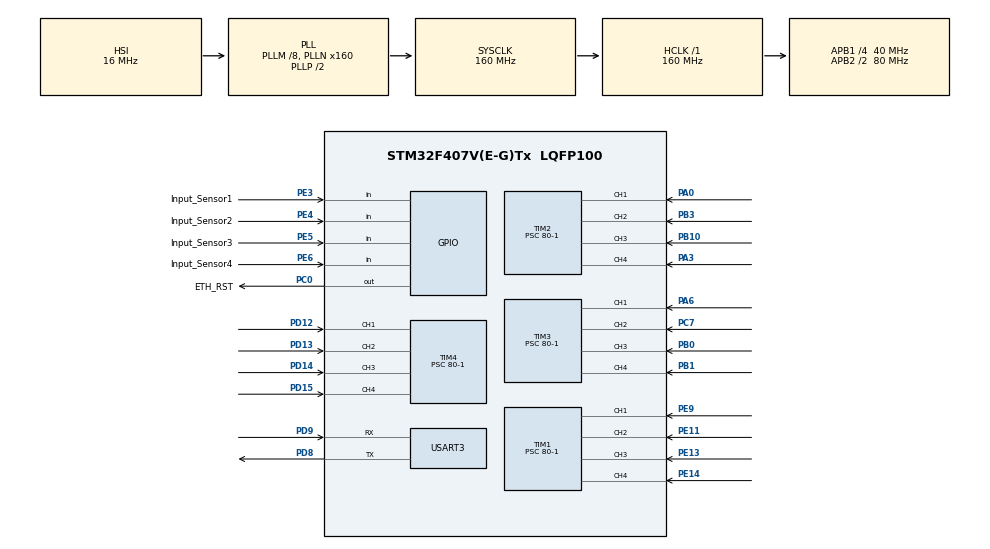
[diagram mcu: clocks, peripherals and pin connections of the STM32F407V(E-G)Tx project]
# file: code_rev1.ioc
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Dma.Request0=USART3_RX
Dma.USART3_RX.0.Direction=DMA_PERIPH_TO_MEMORY
Dma.USART3_RX.0.FIFOMode=DMA_FIFOMODE_DISABLE
Dma.USART3_RX.0.Instance=DMA1_Stream1
Dma.USART3_RX.0.MemDataAlignment=DMA_MDATAALIGN_BYTE
Dma.USART3_RX.0.MemInc=DMA_MINC_ENABLE
Dma.USART3_RX.0.Mode=DMA_CIRCULAR
Dma.USART3_RX.0.PeriphDataAlignment=DMA_PDATAALIGN_BYTE
Dma.USART3_RX.0.PeriphInc=DMA_PINC_DISABLE
Dma.USART3_RX.0.Priority=DMA_PRIORITY_LOW
FREERTOS.INCLUDE_vTaskCleanUpResources=1
FREERTOS.Tasks01=modbusTaskTcp,32,256,modebusTaskTcpFunc,Default,NULL,Dynamic,NULL,NULL;Freq_Cal,24,128,Freq_Cal_entry,Default,NULL,Dynamic,NULL,NULL
FREERTOS.configENABLE_FPU=1
FREERTOS.configGENERATE_RUN_TIME_STATS=1
FREERTOS.configTOTAL_HEAP_SIZE=64000
Mcu.Family=STM32F4
Mcu.Name=STM32F407V(E-G)Tx
Mcu.Package=LQFP100
NVIC.DMA1_Stream1_IRQn=true\:0\:0\:false\:false\:true\:true\:false\:true\:true
NVIC.PriorityGroup=NVIC_PRIORITYGROUP_4
NVIC.TIM1_CC_IRQn=true\:0\:0\:false\:false\:true\:false\:true\:true\:true
NVIC.TIM2_IRQn=true\:0\:0\:false\:false\:true\:false\:true\:true\:true
NVIC.TIM3_IRQn=true\:0\:0\:false\:false\:true\:false\:true\:true\:true
NVIC.TIM4_IRQn=true\:0\:0\:false\:false\:true\:false\:true\:true\:true
NVIC.TIM5_IRQn=true\:0\:0\:false\:false\:true\:false\:false\:true\:true
NVIC.TimeBase=TIM5_IRQn
NVIC.TimeBaseIP=TIM5
NVIC.USART3_IRQn=true\:0\:0\:true\:false\:true\:false\:true\:true\:true
PA0-WKUP.Signal=S_TIM2_CH1_ETR
PA13.Mode=Serial_Wire
PA13.Signal=SYS_JTMS-SWDIO
PA14.Mode=Serial_Wire
PA14.Signal=SYS_JTCK-SWCLK
PA3.Signal=S_TIM2_CH4
PA6.Signal=S_TIM3_CH1
PB0.Signal=S_TIM3_CH3
PB1.Signal=S_TIM3_CH4
PB10.Signal=S_TIM2_CH3
PB3.Signal=S_TIM2_CH2
PC0.GPIO_Label=ETH_RST
PC0.PinState=GPIO_PIN_SET
PC0.Signal=GPIO_Output
PC7.Signal=S_TIM3_CH2
PD12.Signal=S_TIM4_CH1
PD13.Signal=S_TIM4_CH2
PD14.Signal=S_TIM4_CH3
PD15.Signal=S_TIM4_CH4
PD8.Mode=Asynchronous
PD8.Signal=USART3_TX
PD9.Mode=Asynchronous
PD9.Signal=USART3_RX
PE11.Signal=S_TIM1_CH2
PE13.Signal=S_TIM1_CH3
PE14.Signal=S_TIM1_CH4
PE3.GPIO_Label=Input_Sensor1
PE3.GPIO_PuPd=GPIO_NOPULL
PE3.Signal=GPIO_Input
PE4.GPIO_Label=Input_Sensor2
PE4.GPIO_PuPd=GPIO_NOPULL
PE4.Signal=GPIO_Input
PE5.GPIO_Label=Input_Sensor3
PE5.GPIO_PuPd=GPIO_NOPULL
PE5.Signal=GPIO_Input
PE6.GPIO_Label=Input_Sensor4
PE6.GPIO_PuPd=GPIO_NOPULL
PE6.Signal=GPIO_Input
PE9.Signal=S_TIM1_CH1
PH0-OSC_IN.Mode=HSE-External-Oscillator
PH0-OSC_IN.Signal=RCC_OSC_IN
PH1-OSC_OUT.Mode=HSE-External-Oscillator
PH1-OSC_OUT.Signal=RCC_OSC_OUT
ProjectManager.HeapSize=0x2000
ProjectManager.StackSize=0x4000
ProjectManager.TargetToolchain=EWARM V8.32
RCC.48MHZClocksFreq_Value=45714285.71428572
RCC.AHBFreq_Value=160000000
RCC.APB1CLKDivider=RCC_HCLK_DIV4
RCC.APB1Freq_Value=40000000
RCC.APB1TimFreq_Value=80000000
RCC.APB2CLKDivider=RCC_HCLK_DIV2
RCC.APB2Freq_Value=80000000
RCC.APB2TimFreq_Value=160000000
RCC.CortexFreq_Value=160000000
RCC.HCLKFreq_Value=160000000
RCC.HSE_VALUE=8000000
RCC.HSI_VALUE=16000000
RCC.LSE_VALUE=32768
RCC.PLLM=8
RCC.PLLN=160
RCC.PLLQ=7
RCC.SYSCLKFreq_VALUE=160000000
RCC.SYSCLKSource=RCC_SYSCLKSOURCE_PLLCLK
RCC.VCOOutputFreq_Value=320000000
SH.S_TIM1_CH1.0=TIM1_CH1,Input_Capture1_from_TI1
SH.S_TIM1_CH2.0=TIM1_CH2,Input_Capture2_from_TI2
SH.S_TIM1_CH3.0=TIM1_CH3,Input_Capture3_from_TI3
SH.S_TIM1_CH4.0=TIM1_CH4,Input_Capture4_from_TI4
SH.S_TIM2_CH1_ETR.0=TIM2_CH1,Input_Capture1_from_TI1
SH.S_TIM2_CH2.0=TIM2_CH2,Input_Capture2_from_TI2
SH.S_TIM2_CH3.0=TIM2_CH3,Input_Capture3_from_TI3
SH.S_TIM2_CH4.0=TIM2_CH4,Input_Capture4_from_TI4
SH.S_TIM3_CH1.0=TIM3_CH1,Input_Capture1_from_TI1
SH.S_TIM3_CH2.0=TIM3_CH2,Input_Capture2_from_TI2
SH.S_TIM3_CH3.0=TIM3_CH3,Input_Capture3_from_TI3
SH.S_TIM3_CH4.0=TIM3_CH4,Input_Capture4_from_TI4
SH.S_TIM4_CH1.0=TIM4_CH1,Input_Capture1_from_TI1
SH.S_TIM4_CH2.0=TIM4_CH2,Input_Capture2_from_TI2
SH.S_TIM4_CH3.0=TIM4_CH3,Input_Capture3_from_TI3
SH.S_TIM4_CH4.0=TIM4_CH4,Input_Capture4_from_TI4
TIM1.Channel-Input_Capture1_from_TI1=TIM_CHANNEL_1
TIM1.Channel-Input_Capture2_from_TI2=TIM_CHANNEL_2
TIM1.Channel-Input_Capture3_from_TI3=TIM_CHANNEL_3
TIM1.Channel-Input_Capture4_from_TI4=TIM_CHANNEL_4
TIM1.Prescaler=80-1
TIM2.Channel-Input_Capture1_from_TI1=TIM_CHANNEL_1
TIM2.Channel-Input_Capture2_from_TI2=TIM_CHANNEL_2
TIM2.Channel-Input_Capture3_from_TI3=TIM_CHANNEL_3
TIM2.Channel-Input_Capture4_from_TI4=TIM_CHANNEL_4
TIM2.Prescaler=80-1
TIM3.Channel-Input_Capture1_from_TI1=TIM_CHANNEL_1
TIM3.Channel-Input_Capture2_from_TI2=TIM_CHANNEL_2
TIM3.Channel-Input_Capture3_from_TI3=TIM_CHANNEL_3
TIM3.Channel-Input_Capture4_from_TI4=TIM_CHANNEL_4
TIM3.Prescaler=80-1
TIM4.AutoReloadPreload=TIM_AUTORELOAD_PRELOAD_ENABLE
TIM4.Channel-Input_Capture1_from_TI1=TIM_CHANNEL_1
TIM4.Channel-Input_Capture2_from_TI2=TIM_CHANNEL_2
TIM4.Channel-Input_Capture3_from_TI3=TIM_CHANNEL_3
TIM4.Channel-Input_Capture4_from_TI4=TIM_CHANNEL_4
TIM4.Prescaler=80-1
USART3.VirtualMode=VM_ASYNC
VP_FREERTOS_VS_CMSIS_V2.Mode=CMSIS_V2
VP_SYS_VS_tim5.Mode=TIM5
VP_TIM1_VS_ClockSourceINT.Mode=Internal
VP_TIM2_VS_ClockSourceINT.Mode=Internal
VP_TIM3_VS_ClockSourceINT.Mode=Internal
VP_TIM4_VS_ClockSourceINT.Mode=Internal
board=custom

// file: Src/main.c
/* USER CODE BEGIN Header */
/**
******************************************************************************
* @file           : main.c
* @brief          : Main program body
******************************************************************************
* @attention
*
* <h2><center>&copy; Copyright (c) 2023 STMicroelectronics.
* All rights reserved.</center></h2>
*
* This software component is licensed by ST under Ultimate Liberty license
* SLA0044, the "License"; You may not use this file except in compliance with
* the License. You may obtain a copy of the License at:
*                             www.st.com/SLA0044
*
******************************************************************************
*/
/* USER CODE END Header */
#include "main.h"
#include "cmsis_os.h"

/* USER CODE BEGIN Includes */
#include "string.h"
#include "stdio.h"
#include "stdlib.h"
#include <stdbool.h>
#include <stdint.h>
#include <float.h>
#include <math.h>
#include <float.h>
#include <math.h>
#include <stdio.h>
#include <stdlib.h>
#include <string.h>

#include "printf.h"
/* USER CODE END Includes */

/* USER CODE BEGIN PM */
#define TIMCLOCK_1   80000000
#define TIMCLOCK_2   160000000
#define PRESCALAR_1  80
#define PRESCALAR_2  80

#define ARRAY_LEN(x)  (sizeof(x)/sizeof((x)[0]))
uint8_t usart_rx[2400];
size_t pos;
#define NUMBERS_COUNT 17
#define NUMBER_LENGTH 4
#define BUFFER_LENGTH 84
uint8_t Rx_data[84];
int sl_inputs[NUMBERS_COUNT];

uint16_t selected_data[25][16];

uint8_t stat = 0;

uint16_t IC_Val1[17];
uint16_t IC_Val2[17];
uint16_t Difference[17];
int Is_First_Captured[17];
uint16_t frequency[17];
uint16_t frequency_f[17];

char update_status[] = "mode0";
uint16_t capture_freq[100][16];
uint8_t readCount = 0;
uint8_t counter = 0;
uint8_t faultCounter = 0;

uint16_t out_data[400];
char outstr[2400];
/* USER CODE END PM */

TIM_HandleTypeDef htim1;
TIM_HandleTypeDef htim2;
TIM_HandleTypeDef htim3;
TIM_HandleTypeDef htim4;

/* Definitions for modbusTaskTcp */
osThreadId_t modbusTaskTcpHandle;
const osThreadAttr_t modbusTaskTcp_attributes = {
  .name = "modbusTaskTcp",
  .priority = (osPriority_t) osPriorityAboveNormal,
  .stack_size = 256 * 4
};
/* Definitions for Freq_Cal */
osThreadId_t Freq_CalHandle;
const osThreadAttr_t Freq_Cal_attributes = {
  .name = "Freq_Cal",
  .priority = (osPriority_t) osPriorityNormal,
  .stack_size = 128 * 4
};

void SystemClock_Config(void);
static void MX_GPIO_Init(void);
static void MX_DMA_Init(void);
static void MX_TIM1_Init(void);
static void MX_TIM2_Init(void);
static void MX_USART3_UART_Init(void);
static void MX_TIM3_Init(void);
static void MX_TIM4_Init(void);
void modebusTaskTcpFunc(void *argument);
void Freq_Cal_entry(void *argument);

/* USER CODE BEGIN PFP */
void usart_transmit_data(const void* data, uint16_t len) {
  const uint8_t* b = data;
  while (len--) {
    LL_USART_TransmitData8(USART3, *b++);
    while (!LL_USART_IsActiveFlag_TXE(USART3));
  }
}

void usart_rx_check(void) {
  static size_t old_pos;

  /* Calculate current position in buffer */
  pos = ARRAY_LEN(usart_rx) - LL_DMA_GetDataLength(DMA1, LL_DMA_STREAM_5);
  old_pos = pos;                              /* Save current position as old */
  /* Check and manually update if we reached end of buffer */
  if (old_pos == ARRAY_LEN(usart_rx)) {
    old_pos = 0;
  }
}

/**
* \brief           Process received data over UART
* \note            Either process them directly or copy to other bigger buffer
* \param[in]       data: Data to process
* \param[in]       len: Length in units of bytes
*/
void usart_process_data(const void* data, size_t len) {
  const uint8_t* d = data;
  while (len--) {
    LL_USART_TransmitData8(USART3, *d++);
    while (!LL_USART_IsActiveFlag_TXE(USART3));
  }
  while (!LL_USART_IsActiveFlag_TC(USART3));
}

/**
* @brief USART3 Initialization Function
* @param None
* @retval None
*/
static void MX_USART3_UART_Init(void)
{

  /* USER CODE BEGIN USART3_Init 0 */

  /* USER CODE END USART3_Init 0 */

  LL_USART_InitTypeDef USART_InitStruct = {0};

  LL_GPIO_InitTypeDef GPIO_InitStruct = {0};

  /* Peripheral clock enable */
  LL_APB1_GRP1_EnableClock(LL_APB1_GRP1_PERIPH_USART3);

  LL_AHB1_GRP1_EnableClock(LL_AHB1_GRP1_PERIPH_GPIOD);
  /**USART3 GPIO Configuration
  PD8   ------> USART3_TX
  PD9   ------> USART3_RX
  */
  GPIO_InitStruct.Pin = LL_GPIO_PIN_8|LL_GPIO_PIN_9;
  GPIO_InitStruct.Mode = LL_GPIO_MODE_ALTERNATE;
  GPIO_InitStruct.Speed = LL_GPIO_SPEED_FREQ_VERY_HIGH;
  GPIO_InitStruct.OutputType = LL_GPIO_OUTPUT_PUSHPULL;
  GPIO_InitStruct.Pull = LL_GPIO_PULL_UP;
  GPIO_InitStruct.Alternate = LL_GPIO_AF_7;
  LL_GPIO_Init(GPIOD, &GPIO_InitStruct);

  /* USART3 DMA Init */

  /* USART3_RX Init */
  /*
  LL_DMA_SetChannelSelection(DMA1, LL_DMA_STREAM_1, LL_DMA_CHANNEL_4);

  LL_DMA_SetDataTransferDirection(DMA1, LL_DMA_STREAM_1, LL_DMA_DIRECTION_PERIPH_TO_MEMORY);

  LL_DMA_SetStreamPriorityLevel(DMA1, LL_DMA_STREAM_1, LL_DMA_PRIORITY_LOW);

  LL_DMA_SetMode(DMA1, LL_DMA_STREAM_1, LL_DMA_MODE_CIRCULAR);

  LL_DMA_SetPeriphIncMode(DMA1, LL_DMA_STREAM_1, LL_DMA_PERIPH_NOINCREMENT);

  LL_DMA_SetMemoryIncMode(DMA1, LL_DMA_STREAM_1, LL_DMA_MEMORY_INCREMENT);

  LL_DMA_SetPeriphSize(DMA1, LL_DMA_STREAM_1, LL_DMA_PDATAALIGN_BYTE);

  LL_DMA_SetMemorySize(DMA1, LL_DMA_STREAM_1, LL_DMA_MDATAALIGN_BYTE);

  LL_DMA_DisableFifoMode(DMA1, LL_DMA_STREAM_1);
  */
  LL_DMA_SetChannelSelection(DMA1, LL_DMA_STREAM_1, LL_DMA_CHANNEL_4);
  LL_DMA_SetDataTransferDirection(DMA1, LL_DMA_STREAM_1, LL_DMA_DIRECTION_PERIPH_TO_MEMORY);
  LL_DMA_SetStreamPriorityLevel(DMA1, LL_DMA_STREAM_1, LL_DMA_PRIORITY_LOW);
  LL_DMA_SetMode(DMA1, LL_DMA_STREAM_1, LL_DMA_MODE_CIRCULAR);
  LL_DMA_SetPeriphIncMode(DMA1, LL_DMA_STREAM_1, LL_DMA_PERIPH_NOINCREMENT);
  LL_DMA_SetMemoryIncMode(DMA1, LL_DMA_STREAM_1, LL_DMA_MEMORY_INCREMENT);
  LL_DMA_SetPeriphSize(DMA1, LL_DMA_STREAM_1, LL_DMA_PDATAALIGN_BYTE);
  LL_DMA_SetMemorySize(DMA1, LL_DMA_STREAM_1, LL_DMA_MDATAALIGN_BYTE);
  LL_DMA_DisableFifoMode(DMA1, LL_DMA_STREAM_1);

  LL_DMA_SetPeriphAddress(DMA1, LL_DMA_STREAM_1, (uint32_t)&USART3->DR);
  LL_DMA_SetMemoryAddress(DMA1, LL_DMA_STREAM_1, (uint32_t)usart_rx);
  LL_DMA_SetDataLength(DMA1, LL_DMA_STREAM_1, ARRAY_LEN(usart_rx));

  /* USART3 interrupt Init */
  NVIC_SetPriority(USART3_IRQn, NVIC_EncodePriority(NVIC_GetPriorityGrouping(),5, 0));
  NVIC_EnableIRQ(USART3_IRQn);

  /* USER CODE BEGIN USART3_Init 1 */

  /* USER CODE END USART3_Init 1 */
  USART_InitStruct.BaudRate = 115200;
  USART_InitStruct.DataWidth = LL_USART_DATAWIDTH_8B;
  USART_InitStruct.StopBits = LL_USART_STOPBITS_1;
  USART_InitStruct.Parity = LL_USART_PARITY_NONE;
  USART_InitStruct.TransferDirection = LL_USART_DIRECTION_TX_RX;
  USART_InitStruct.HardwareFlowControl = LL_USART_HWCONTROL_NONE;
  USART_InitStruct.OverSampling = LL_USART_OVERSAMPLING_16;
  LL_USART_Init(USART3, &USART_InitStruct);
  LL_USART_ConfigAsyncMode(USART3);
  LL_USART_EnableDMAReq_RX(USART3);
  LL_USART_EnableIT_IDLE(USART3);
  LL_DMA_EnableStream(DMA1, LL_DMA_STREAM_1);
  LL_USART_Enable(USART3);
  /* USER CODE BEGIN USART3_Init 2 */

  /* USER CODE END USART3_Init 2 */

}

/**
* \brief           Send string to USART
* \param[in]       str: String to send
*/
void usart_send_string(const char* str) {
  usart_process_data(str, strlen(str));
}
/* USER CODE END PFP */

int main(void)
{

  /* MCU Configuration--------------------------------------------------------*/

  /* Reset of all peripherals, Initializes the Flash interface and the Systick. */
  HAL_Init();

  /* Configure the system clock */
  SystemClock_Config();

  /* Initialize all configured peripherals */
  MX_GPIO_Init();
  MX_DMA_Init();
  MX_TIM1_Init();
  MX_TIM2_Init();
  MX_USART3_UART_Init();
  MX_TIM3_Init();
  MX_TIM4_Init();
  /* USER CODE BEGIN 2 */
  HAL_TIM_IC_Start_IT(&htim1, TIM_CHANNEL_1);
  HAL_TIM_IC_Start_IT(&htim1, TIM_CHANNEL_2);
  HAL_TIM_IC_Start_IT(&htim1, TIM_CHANNEL_3);
  HAL_TIM_IC_Start_IT(&htim1, TIM_CHANNEL_4);

  HAL_TIM_IC_Start_IT(&htim2, TIM_CHANNEL_1);
  HAL_TIM_IC_Start_IT(&htim2, TIM_CHANNEL_2);
  HAL_TIM_IC_Start_IT(&htim2, TIM_CHANNEL_3);
  HAL_TIM_IC_Start_IT(&htim2, TIM_CHANNEL_4);

  HAL_TIM_IC_Start_IT(&htim3, TIM_CHANNEL_1);
  HAL_TIM_IC_Start_IT(&htim3, TIM_CHANNEL_2);
  HAL_TIM_IC_Start_IT(&htim3, TIM_CHANNEL_3);
  HAL_TIM_IC_Start_IT(&htim3, TIM_CHANNEL_4);

  HAL_TIM_IC_Start_IT(&htim4, TIM_CHANNEL_1);
  HAL_TIM_IC_Start_IT(&htim4, TIM_CHANNEL_2);
  HAL_TIM_IC_Start_IT(&htim4, TIM_CHANNEL_3);
  HAL_TIM_IC_Start_IT(&htim4, TIM_CHANNEL_4);

  //HAL_UART_Receive_IT (&huart3, Rx_data, 4);

  HAL_GPIO_WritePin(ETH_RST_GPIO_Port, ETH_RST_Pin, GPIO_PIN_SET);
  /* USER CODE END 2 */

  /* Init scheduler */
  osKernelInitialize();

  /* Create the thread(s) */
  /* creation of modbusTaskTcp */
  modbusTaskTcpHandle = osThreadNew(modebusTaskTcpFunc, NULL, &modbusTaskTcp_attributes);

  /* creation of Freq_Cal */
  Freq_CalHandle = osThreadNew(Freq_Cal_entry, NULL, &Freq_Cal_attributes);

  /* Start scheduler */
  osKernelStart();

  /* We should never get here as control is now taken by the scheduler */
  /* Infinite loop */
  while (1)
  {

  }
}

void SystemClock_Config(void)
{
  RCC_OscInitTypeDef RCC_OscInitStruct = {0};
  RCC_ClkInitTypeDef RCC_ClkInitStruct = {0};

  /** Configure the main internal regulator output voltage
  */
  __HAL_RCC_PWR_CLK_ENABLE();
  __HAL_PWR_VOLTAGESCALING_CONFIG(PWR_REGULATOR_VOLTAGE_SCALE1);
  /** Initializes the RCC Oscillators according to the specified parameters
  * in the RCC_OscInitTypeDef structure.
  */
  RCC_OscInitStruct.OscillatorType = RCC_OSCILLATORTYPE_HSI;
  RCC_OscInitStruct.HSIState = RCC_HSI_ON;
  RCC_OscInitStruct.HSICalibrationValue = RCC_HSICALIBRATION_DEFAULT;
  RCC_OscInitStruct.PLL.PLLState = RCC_PLL_ON;
  RCC_OscInitStruct.PLL.PLLSource = RCC_PLLSOURCE_HSI;
  RCC_OscInitStruct.PLL.PLLM = 8;
  RCC_OscInitStruct.PLL.PLLN = 160;
  RCC_OscInitStruct.PLL.PLLP = RCC_PLLP_DIV2;
  RCC_OscInitStruct.PLL.PLLQ = 7;
  if (HAL_RCC_OscConfig(&RCC_OscInitStruct) != HAL_OK)
  {
    Error_Handler();
  }
  /** Initializes the CPU, AHB and APB buses clocks
  */
  RCC_ClkInitStruct.ClockType = RCC_CLOCKTYPE_HCLK|RCC_CLOCKTYPE_SYSCLK
                              |RCC_CLOCKTYPE_PCLK1|RCC_CLOCKTYPE_PCLK2;
  RCC_ClkInitStruct.SYSCLKSource = RCC_SYSCLKSOURCE_PLLCLK;
  RCC_ClkInitStruct.AHBCLKDivider = RCC_SYSCLK_DIV1;
  RCC_ClkInitStruct.APB1CLKDivider = RCC_HCLK_DIV4;
  RCC_ClkInitStruct.APB2CLKDivider = RCC_HCLK_DIV2;

  if (HAL_RCC_ClockConfig(&RCC_ClkInitStruct, FLASH_LATENCY_5) != HAL_OK)
  {
    Error_Handler();
  }
}

static void MX_TIM1_Init(void)
{

  TIM_ClockConfigTypeDef sClockSourceConfig = {0};
  TIM_MasterConfigTypeDef sMasterConfig = {0};
  TIM_IC_InitTypeDef sConfigIC = {0};

  htim1.Instance = TIM1;
  htim1.Init.Prescaler = 80-1;
  htim1.Init.CounterMode = TIM_COUNTERMODE_UP;
  htim1.Init.Period = 65535;
  htim1.Init.ClockDivision = TIM_CLOCKDIVISION_DIV1;
  htim1.Init.RepetitionCounter = 0;
  htim1.Init.AutoReloadPreload = TIM_AUTORELOAD_PRELOAD_DISABLE;
  if (HAL_TIM_Base_Init(&htim1) != HAL_OK)
  {
    Error_Handler();
  }
  sClockSourceConfig.ClockSource = TIM_CLOCKSOURCE_INTERNAL;
  if (HAL_TIM_ConfigClockSource(&htim1, &sClockSourceConfig) != HAL_OK)
  {
    Error_Handler();
  }
  if (HAL_TIM_IC_Init(&htim1) != HAL_OK)
  {
    Error_Handler();
  }
  sMasterConfig.MasterOutputTrigger = TIM_TRGO_RESET;
  sMasterConfig.MasterSlaveMode = TIM_MASTERSLAVEMODE_DISABLE;
  if (HAL_TIMEx_MasterConfigSynchronization(&htim1, &sMasterConfig) != HAL_OK)
  {
    Error_Handler();
  }
  sConfigIC.ICPolarity = TIM_INPUTCHANNELPOLARITY_RISING;
  sConfigIC.ICSelection = TIM_ICSELECTION_DIRECTTI;
  sConfigIC.ICPrescaler = TIM_ICPSC_DIV1;
  sConfigIC.ICFilter = 0;
  if (HAL_TIM_IC_ConfigChannel(&htim1, &sConfigIC, TIM_CHANNEL_1) != HAL_OK)
  {
    Error_Handler();
  }
  if (HAL_TIM_IC_ConfigChannel(&htim1, &sConfigIC, TIM_CHANNEL_2) != HAL_OK)
  {
    Error_Handler();
  }
  if (HAL_TIM_IC_ConfigChannel(&htim1, &sConfigIC, TIM_CHANNEL_3) != HAL_OK)
  {
    Error_Handler();
  }
  if (HAL_TIM_IC_ConfigChannel(&htim1, &sConfigIC, TIM_CHANNEL_4) != HAL_OK)
  {
    Error_Handler();
  }

}

static void MX_TIM2_Init(void)
{

  TIM_ClockConfigTypeDef sClockSourceConfig = {0};
  TIM_MasterConfigTypeDef sMasterConfig = {0};
  TIM_IC_InitTypeDef sConfigIC = {0};

  htim2.Instance = TIM2;
  htim2.Init.Prescaler = 80-1;
  htim2.Init.CounterMode = TIM_COUNTERMODE_UP;
  htim2.Init.Period = 4294967295;
  htim2.Init.ClockDivision = TIM_CLOCKDIVISION_DIV1;
  htim2.Init.AutoReloadPreload = TIM_AUTORELOAD_PRELOAD_DISABLE;
  if (HAL_TIM_Base_Init(&htim2) != HAL_OK)
  {
    Error_Handler();
  }
  sClockSourceConfig.ClockSource = TIM_CLOCKSOURCE_INTERNAL;
  if (HAL_TIM_ConfigClockSource(&htim2, &sClockSourceConfig) != HAL_OK)
  {
    Error_Handler();
  }
  if (HAL_TIM_IC_Init(&htim2) != HAL_OK)
  {
    Error_Handler();
  }
  sMasterConfig.MasterOutputTrigger = TIM_TRGO_RESET;
  sMasterConfig.MasterSlaveMode = TIM_MASTERSLAVEMODE_DISABLE;
  if (HAL_TIMEx_MasterConfigSynchronization(&htim2, &sMasterConfig) != HAL_OK)
  {
    Error_Handler();
  }
  sConfigIC.ICPolarity = TIM_INPUTCHANNELPOLARITY_RISING;
  sConfigIC.ICSelection = TIM_ICSELECTION_DIRECTTI;
  sConfigIC.ICPrescaler = TIM_ICPSC_DIV1;
  sConfigIC.ICFilter = 0;
  if (HAL_TIM_IC_ConfigChannel(&htim2, &sConfigIC, TIM_CHANNEL_1) != HAL_OK)
  {
    Error_Handler();
  }
  if (HAL_TIM_IC_ConfigChannel(&htim2, &sConfigIC, TIM_CHANNEL_2) != HAL_OK)
  {
    Error_Handler();
  }
  if (HAL_TIM_IC_ConfigChannel(&htim2, &sConfigIC, TIM_CHANNEL_3) != HAL_OK)
  {
    Error_Handler();
  }
  if (HAL_TIM_IC_ConfigChannel(&htim2, &sConfigIC, TIM_CHANNEL_4) != HAL_OK)
  {
    Error_Handler();
  }

}

static void MX_TIM3_Init(void)
{

  TIM_ClockConfigTypeDef sClockSourceConfig = {0};
  TIM_MasterConfigTypeDef sMasterConfig = {0};
  TIM_IC_InitTypeDef sConfigIC = {0};

  htim3.Instance = TIM3;
  htim3.Init.Prescaler = 80-1;
  htim3.Init.CounterMode = TIM_COUNTERMODE_UP;
  htim3.Init.Period = 65535;
  htim3.Init.ClockDivision = TIM_CLOCKDIVISION_DIV1;
  htim3.Init.AutoReloadPreload = TIM_AUTORELOAD_PRELOAD_DISABLE;
  if (HAL_TIM_Base_Init(&htim3) != HAL_OK)
  {
    Error_Handler();
  }
  sClockSourceConfig.ClockSource = TIM_CLOCKSOURCE_INTERNAL;
  if (HAL_TIM_ConfigClockSource(&htim3, &sClockSourceConfig) != HAL_OK)
  {
    Error_Handler();
  }
  if (HAL_TIM_IC_Init(&htim3) != HAL_OK)
  {
    Error_Handler();
  }
  sMasterConfig.MasterOutputTrigger = TIM_TRGO_RESET;
  sMasterConfig.MasterSlaveMode = TIM_MASTERSLAVEMODE_DISABLE;
  if (HAL_TIMEx_MasterConfigSynchronization(&htim3, &sMasterConfig) != HAL_OK)
  {
    Error_Handler();
  }
  sConfigIC.ICPolarity = TIM_INPUTCHANNELPOLARITY_RISING;
  sConfigIC.ICSelection = TIM_ICSELECTION_DIRECTTI;
  sConfigIC.ICPrescaler = TIM_ICPSC_DIV1;
  sConfigIC.ICFilter = 0;
  if (HAL_TIM_IC_ConfigChannel(&htim3, &sConfigIC, TIM_CHANNEL_1) != HAL_OK)
  {
    Error_Handler();
  }
  if (HAL_TIM_IC_ConfigChannel(&htim3, &sConfigIC, TIM_CHANNEL_2) != HAL_OK)
  {
    Error_Handler();
  }
  if (HAL_TIM_IC_ConfigChannel(&htim3, &sConfigIC, TIM_CHANNEL_3) != HAL_OK)
  {
    Error_Handler();
  }
  if (HAL_TIM_IC_ConfigChannel(&htim3, &sConfigIC, TIM_CHANNEL_4) != HAL_OK)
  {
    Error_Handler();
  }

}

static void MX_TIM4_Init(void)
{

  TIM_ClockConfigTypeDef sClockSourceConfig = {0};
  TIM_MasterConfigTypeDef sMasterConfig = {0};
  TIM_IC_InitTypeDef sConfigIC = {0};

  htim4.Instance = TIM4;
  htim4.Init.Prescaler = 80-1;
  htim4.Init.CounterMode = TIM_COUNTERMODE_UP;
  htim4.Init.Period = 65535;
  htim4.Init.ClockDivision = TIM_CLOCKDIVISION_DIV1;
  htim4.Init.AutoReloadPreload = TIM_AUTORELOAD_PRELOAD_ENABLE;
  if (HAL_TIM_Base_Init(&htim4) != HAL_OK)
  {
    Error_Handler();
  }
  sClockSourceConfig.ClockSource = TIM_CLOCKSOURCE_INTERNAL;
  if (HAL_TIM_ConfigClockSource(&htim4, &sClockSourceConfig) != HAL_OK)
  {
    Error_Handler();
  }
  if (HAL_TIM_IC_Init(&htim4) != HAL_OK)
  {
    Error_Handler();
  }
  sMasterConfig.MasterOutputTrigger = TIM_TRGO_RESET;
  sMasterConfig.MasterSlaveMode = TIM_MASTERSLAVEMODE_DISABLE;
  if (HAL_TIMEx_MasterConfigSynchronization(&htim4, &sMasterConfig) != HAL_OK)
  {
    Error_Handler();
  }
  sConfigIC.ICPolarity = TIM_INPUTCHANNELPOLARITY_RISING;
  sConfigIC.ICSelection = TIM_ICSELECTION_DIRECTTI;
  sConfigIC.ICPrescaler = TIM_ICPSC_DIV1;
  sConfigIC.ICFilter = 0;
  if (HAL_TIM_IC_ConfigChannel(&htim4, &sConfigIC, TIM_CHANNEL_1) != HAL_OK)
  {
    Error_Handler();
  }
  if (HAL_TIM_IC_ConfigChannel(&htim4, &sConfigIC, TIM_CHANNEL_2) != HAL_OK)
  {
    Error_Handler();
  }
  if (HAL_TIM_IC_ConfigChannel(&htim4, &sConfigIC, TIM_CHANNEL_3) != HAL_OK)
  {
    Error_Handler();
  }
  if (HAL_TIM_IC_ConfigChannel(&htim4, &sConfigIC, TIM_CHANNEL_4) != HAL_OK)
  {
    Error_Handler();
  }

}

static void MX_DMA_Init(void)
{

  /* Init with LL driver */
  /* DMA controller clock enable */
  LL_AHB1_GRP1_EnableClock(LL_AHB1_GRP1_PERIPH_DMA1);

  /* DMA interrupt init */
  /* DMA1_Stream1_IRQn interrupt configuration */
  NVIC_SetPriority(DMA1_Stream1_IRQn, NVIC_EncodePriority(NVIC_GetPriorityGrouping(),0, 0));
  NVIC_EnableIRQ(DMA1_Stream1_IRQn);

}

static void MX_GPIO_Init(void)
{
  GPIO_InitTypeDef GPIO_InitStruct = {0};

  /* GPIO Ports Clock Enable */
  __HAL_RCC_GPIOE_CLK_ENABLE();
  __HAL_RCC_GPIOH_CLK_ENABLE();
  __HAL_RCC_GPIOC_CLK_ENABLE();
  __HAL_RCC_GPIOA_CLK_ENABLE();
  __HAL_RCC_GPIOB_CLK_ENABLE();
  __HAL_RCC_GPIOD_CLK_ENABLE();

  /*Configure GPIO pin Output Level */
  HAL_GPIO_WritePin(ETH_RST_GPIO_Port, ETH_RST_Pin, GPIO_PIN_SET);

  /*Configure GPIO pins : Input_Sensor1_Pin Input_Sensor2_Pin Input_Sensor3_Pin Input_Sensor4_Pin */
  GPIO_InitStruct.Pin = Input_Sensor1_Pin|Input_Sensor2_Pin|Input_Sensor3_Pin|Input_Sensor4_Pin;
  GPIO_InitStruct.Mode = GPIO_MODE_INPUT;
  GPIO_InitStruct.Pull = GPIO_NOPULL;
  HAL_GPIO_Init(GPIOE, &GPIO_InitStruct);

  /*Configure GPIO pin : ETH_RST_Pin */
  GPIO_InitStruct.Pin = ETH_RST_Pin;
  GPIO_InitStruct.Mode = GPIO_MODE_OUTPUT_PP;
  GPIO_InitStruct.Pull = GPIO_NOPULL;
  GPIO_InitStruct.Speed = GPIO_SPEED_FREQ_LOW;
  HAL_GPIO_Init(ETH_RST_GPIO_Port, &GPIO_InitStruct);

}

/* USER CODE BEGIN 4 */

/* Measure Frequency */

void HAL_TIM_IC_CaptureCallback(TIM_HandleTypeDef *htim)
{
  if (htim == &htim1)
  {
    if (htim->Channel == HAL_TIM_ACTIVE_CHANNEL_1)
    {
      if (Is_First_Captured[0]==0) // if the first rising edge is not captured
      {
        IC_Val1[0] = HAL_TIM_ReadCapturedValue(htim, TIM_CHANNEL_1); // read the first value
        Is_First_Captured[0] = 1;  // set the first captured as true
      }

      else   // If the first rising edge is captured, now we will capture the second edge
      {
        IC_Val2[0] = HAL_TIM_ReadCapturedValue(htim, TIM_CHANNEL_1);  // read second value

        if (IC_Val2[0] > IC_Val1[0])
        {
          Difference[0] = IC_Val2[0]-IC_Val1[0];
        }

        else if (IC_Val1[0] > IC_Val2[0])
        {
          Difference[0] = (0xffffffff - IC_Val1[0]) + IC_Val2[0];
        }

        float refClock = TIMCLOCK_2/(PRESCALAR_2);

        frequency[7] = (int)refClock/Difference[0];

//        __HAL_TIM_SET_COUNTER(htim, 0);  // reset the counter
        Is_First_Captured[0] = 0; // set it back to false
      }
    }
    else if (htim->Channel == HAL_TIM_ACTIVE_CHANNEL_2)
    {
      if (Is_First_Captured[1]==0) // if the first rising edge is not captured
      {
        IC_Val1[1] = HAL_TIM_ReadCapturedValue(htim, TIM_CHANNEL_2); // read the first value
        Is_First_Captured[1] = 1;  // set the first captured as true
      }

      else   // If the first rising edge is captured, now we will capture the second edge
      {
        IC_Val2[1] = HAL_TIM_ReadCapturedValue(htim, TIM_CHANNEL_2);  // read second value

        if (IC_Val2[1] > IC_Val1[1])
        {
          Difference[1] = IC_Val2[1]-IC_Val1[1];
        }

        else if (IC_Val1[1] > IC_Val2[1])
        {
          Difference[1] = (0xffffffff - IC_Val1[1]) + IC_Val2[1];
        }

        float refClock = TIMCLOCK_2/(PRESCALAR_2);

        frequency[6] = (int)refClock/Difference[1];

//        __HAL_TIM_SET_COUNTER(htim, 0);  // reset the counter
        Is_First_Captured[1] = 0; // set it back to false
      }
    }
    else if (htim->Channel == HAL_TIM_ACTIVE_CHANNEL_3)
    {
      if (Is_First_Captured[2]==0) // if the first rising edge is not captured
      {
        IC_Val1[2] = HAL_TIM_ReadCapturedValue(htim, TIM_CHANNEL_3); // read the first value
        Is_First_Captured[2] = 1;  // set the first captured as true
      }

      else   // If the first rising edge is captured, now we will capture the second edge
      {
        IC_Val2[2] = HAL_TIM_ReadCapturedValue(htim, TIM_CHANNEL_3);  // read second value

        if (IC_Val2[2] > IC_Val1[2])
        {
          Difference[2] = IC_Val2[2]-IC_Val1[2];
        }

        else if (IC_Val1[2] > IC_Val2[2])
        {
          Difference[2] = (0xffffffff - IC_Val1[2]) + IC_Val2[2];
        }

        float refClock = TIMCLOCK_2/(PRESCALAR_2);

        frequency[5] = (int)refClock/Difference[2];

//        __HAL_TIM_SET_COUNTER(htim, 0);  // reset the counter
        Is_First_Captured[2] = 0; // set it back to false
      }
    }
    else if (htim->Channel == HAL_TIM_ACTIVE_CHANNEL_4)
    {
      if (Is_First_Captured[3]==0) // if the first rising edge is not captured
      {
        IC_Val1[3] = HAL_TIM_ReadCapturedValue(htim, TIM_CHANNEL_4); // read the first value
        Is_First_Captured[3] = 1;  // set the first captured as true
      }

      else   // If the first rising edge is captured, now we will capture the second edge
      {
        IC_Val2[3] = HAL_TIM_ReadCapturedValue(htim, TIM_CHANNEL_4);  // read second value

        if (IC_Val2[3] > IC_Val1[3])
        {
          Difference[3] = IC_Val2[3]-IC_Val1[3];
        }

        else if (IC_Val1[3] > IC_Val2[3])
        {
          Difference[3] = (0xffffffff - IC_Val1[3]) + IC_Val2[3];
        }

        float refClock = TIMCLOCK_2/(PRESCALAR_2);

        frequency[4] = (int)refClock/Difference[3];

//        __HAL_TIM_SET_COUNTER(htim, 0);  // reset the counter
        Is_First_Captured[3] = 0; // set it back to false
      }
    }
  }
  ///////////////////////////Timer 2
  else if (htim == &htim2)
  {
    if (htim->Channel == HAL_TIM_ACTIVE_CHANNEL_1)
    {
      if (Is_First_Captured[4]==0) // if the first rising edge is not captured
      {
        IC_Val1[4] = HAL_TIM_ReadCapturedValue(htim, TIM_CHANNEL_1); // read the first value
        Is_First_Captured[4] = 1;  // set the first captured as true
      }

      else   // If the first rising edge is captured, now we will capture the second edge
      {
        IC_Val2[4] = HAL_TIM_ReadCapturedValue(htim, TIM_CHANNEL_1);  // read second value

        if (IC_Val2[4] > IC_Val1[4])
        {
          Difference[4] = IC_Val2[4]-IC_Val1[4];
        }

        else if (IC_Val1[4] > IC_Val2[4])
        {
          Difference[4] = (0xffffffff - IC_Val1[4]) + IC_Val2[4];
        }

        float refClock = TIMCLOCK_1/(PRESCALAR_1);

        frequency[3] = (int)refClock/Difference[4];

//        __HAL_TIM_SET_COUNTER(htim, 0);  // reset the counter
        Is_First_Captured[4] = 0; // set it back to false
      }
    }
    else if (htim->Channel == HAL_TIM_ACTIVE_CHANNEL_2)
    {
      if (Is_First_Captured[5]==0) // if the first rising edge is not captured
      {
        IC_Val1[5] = HAL_TIM_ReadCapturedValue(htim, TIM_CHANNEL_2); // read the first value
        Is_First_Captured[5] = 1;  // set the first captured as true
      }

      else   // If the first rising edge is captured, now we will capture the second edge
      {
        IC_Val2[5] = HAL_TIM_ReadCapturedValue(htim, TIM_CHANNEL_2);  // read second value

        if (IC_Val2[5] > IC_Val1[5])
        {
          Difference[5] = IC_Val2[5]-IC_Val1[5];
        }

        else if (IC_Val1[5] > IC_Val2[5])
        {
          Difference[5] = (0xffffffff - IC_Val1[5]) + IC_Val2[5];
        }

        float refClock = TIMCLOCK_1/(PRESCALAR_1);

        frequency[2] = (int)refClock/Difference[5];

//        __HAL_TIM_SET_COUNTER(htim, 0);  // reset the counter
        Is_First_Captured[5] = 0; // set it back to false
      }
    }
    else if (htim->Channel == HAL_TIM_ACTIVE_CHANNEL_3)
    {
      if (Is_First_Captured[6]==0) // if the first rising edge is not captured
      {
        IC_Val1[6] = HAL_TIM_ReadCapturedValue(htim, TIM_CHANNEL_3); // read the first value
        Is_First_Captured[6] = 1;  // set the first captured as true
      }

      else   // If the first rising edge is captured, now we will capture the second edge
      {
        IC_Val2[6] = HAL_TIM_ReadCapturedValue(htim, TIM_CHANNEL_3);  // read second value

        if (IC_Val2[6] > IC_Val1[6])
        {
          Difference[6] = IC_Val2[6]-IC_Val1[6];
        }

        else if (IC_Val1[6] > IC_Val2[6])
        {
          Difference[6] = (0xffffffff - IC_Val1[6]) + IC_Val2[6];
        }

        float refClock = TIMCLOCK_1/(PRESCALAR_1);

        frequency[1] = (int)refClock/Difference[6];

//        __HAL_TIM_SET_COUNTER(htim, 0);  // reset the counter
        Is_First_Captured[6] = 0; // set it back to false
      }
    }
    else if (htim->Channel == HAL_TIM_ACTIVE_CHANNEL_4)
    {
      if (Is_First_Captured[7]==0) // if the first rising edge is not captured
      {
        IC_Val1[7] = HAL_TIM_ReadCapturedValue(htim, TIM_CHANNEL_4); // read the first value
        Is_First_Captured[7] = 1;  // set the first captured as true
      }

      else   // If the first rising edge is captured, now we will capture the second edge
      {
        IC_Val2[7] = HAL_TIM_ReadCapturedValue(htim, TIM_CHANNEL_4);  // read second value

        if (IC_Val2[7] > IC_Val1[7])
        {
          Difference[7] = IC_Val2[7]-IC_Val1[7];
        }

        else if (IC_Val1[7] > IC_Val2[7])
        {
          Difference[7] = (0xffffffff - IC_Val1[7]) + IC_Val2[7];
        }

        float refClock = TIMCLOCK_1/(PRESCALAR_1);

        frequency[0] = (int)refClock/Difference[7];

//        __HAL_TIM_SET_COUNTER(htim, 0);  // reset the counter
        Is_First_Captured[7] = 0; // set it back to false
      }
    }
  }
  ////////////////////////Timer 3
  else if (htim == &htim3)
  {
    if (htim->Channel == HAL_TIM_ACTIVE_CHANNEL_1)
    {
      if (Is_First_Captured[8]==0) // if the first rising edge is not captured
      {
        IC_Val1[8] = HAL_TIM_ReadCapturedValue(htim, TIM_CHANNEL_1); // read the first value
        Is_First_Captured[8] = 1;  // set the first captured as true
      }

      else   // If the first rising edge is captured, now we will capture the second edge
      {
        IC_Val2[8] = HAL_TIM_ReadCapturedValue(htim, TIM_CHANNEL_1);  // read second value

        if (IC_Val2[8] > IC_Val1[8])
        {
          Difference[8] = IC_Val2[8]-IC_Val1[8];
        }

        else if (IC_Val1[8] > IC_Val2[8])
        {
          Difference[8] = (0xffffffff - IC_Val1[8]) + IC_Val2[8];
        }

        float refClock = TIMCLOCK_1/(PRESCALAR_1);

        frequency[8] = (int)refClock/Difference[8];

//        __HAL_TIM_SET_COUNTER(htim, 0);  // reset the counter
        Is_First_Captured[8] = 0; // set it back to false
      }
    }
    else if (htim->Channel == HAL_TIM_ACTIVE_CHANNEL_2)
    {
      if (Is_First_Captured[9]==0) // if the first rising edge is not captured
      {
        IC_Val1[9] = HAL_TIM_ReadCapturedValue(htim, TIM_CHANNEL_2); // read the first value
        Is_First_Captured[9] = 1;  // set the first captured as true
      }

      else   // If the first rising edge is captured, now we will capture the second edge
      {
        IC_Val2[9] = HAL_TIM_ReadCapturedValue(htim, TIM_CHANNEL_2);  // read second value

        if (IC_Val2[9] > IC_Val1[9])
        {
          Difference[9] = IC_Val2[9]-IC_Val1[9];
        }

        else if (IC_Val1[9] > IC_Val2[9])
        {
          Difference[9] = (0xffffffff - IC_Val1[9]) + IC_Val2[9];
        }

        float refClock = TIMCLOCK_1/(PRESCALAR_1);

        frequency[9] = (int)refClock/Difference[9];

//        __HAL_TIM_SET_COUNTER(htim, 0);  // reset the counter
        Is_First_Captured[9] = 0; // set it back to false
      }
    }
    else if (htim->Channel == HAL_TIM_ACTIVE_CHANNEL_3)
    {
      if (Is_First_Captured[10]==0) // if the first rising edge is not captured
      {
        IC_Val1[10] = HAL_TIM_ReadCapturedValue(htim, TIM_CHANNEL_3); // read the first value
        Is_First_Captured[10] = 1;  // set the first captured as true
      }

      else   // If the first rising edge is captured, now we will capture the second edge
      {
        IC_Val2[10] = HAL_TIM_ReadCapturedValue(htim, TIM_CHANNEL_3);  // read second value

        if (IC_Val2[10] > IC_Val1[10])
        {
          Difference[10] = IC_Val2[10]-IC_Val1[10];
        }

        else if (IC_Val1[10] > IC_Val2[10])
        {
          Difference[10] = (0xffffffff - IC_Val1[10]) + IC_Val2[10];
        }

        float refClock = TIMCLOCK_1/(PRESCALAR_1);

        frequency[10] = (int)refClock/Difference[10];

//        __HAL_TIM_SET_COUNTER(htim, 0);  // reset the counter
        Is_First_Captured[10] = 0; // set it back to false
      }
    }
    else if (htim->Channel == HAL_TIM_ACTIVE_CHANNEL_4)
    {
      if (Is_First_Captured[11]==0) // if the first rising edge is not captured
      {
        IC_Val1[11] = HAL_TIM_ReadCapturedValue(htim, TIM_CHANNEL_4); // read the first value
        Is_First_Captured[11] = 1;  // set the first captured as true
      }

      else   // If the first rising edge is captured, now we will capture the second edge
      {
        IC_Val2[11] = HAL_TIM_ReadCapturedValue(htim, TIM_CHANNEL_4);  // read second value

        if (IC_Val2[11] > IC_Val1[11])
        {
          Difference[11] = IC_Val2[11]-IC_Val1[11];
        }

        else if (IC_Val1[11] > IC_Val2[11])
        {
          Difference[11] = (0xffffffff - IC_Val1[11]) + IC_Val2[11];
        }

        float refClock = TIMCLOCK_1/(PRESCALAR_1);

        frequency[11] = (int)refClock/Difference[11];

//        __HAL_TIM_SET_COUNTER(htim, 0);  // reset the counter
        Is_First_Captured[11] = 0; // set it back to false
      }
    }
  }
  /////////////////////////Timer 4
  else if (htim == &htim4)
  {
    if (htim->Channel == HAL_TIM_ACTIVE_CHANNEL_1)
    {
      if (Is_First_Captured[12]==0) // if the first rising edge is not captured
      {
        IC_Val1[12] = HAL_TIM_ReadCapturedValue(htim, TIM_CHANNEL_1); // read the first value
        Is_First_Captured[12] = 1;  // set the first captured as true
      }

      else   // If the first rising edge is captured, now we will capture the second edge
      {
        IC_Val2[12] = HAL_TIM_ReadCapturedValue(htim, TIM_CHANNEL_1);  // read second value

        if (IC_Val2[12] > IC_Val1[12])
        {
          Difference[12] = IC_Val2[12]-IC_Val1[12];
        }

        else if (IC_Val1[12] > IC_Val2[12])
        {
          Difference[12] = (0xffffffff - IC_Val1[12]) + IC_Val2[12];
        }

        float refClock = TIMCLOCK_1/(PRESCALAR_1);

        frequency[12] = (int)refClock/Difference[12];

//        __HAL_TIM_SET_COUNTER(htim, 0);  // reset the counter
        Is_First_Captured[12] = 0; // set it back to false
      }
    }
    else if (htim->Channel == HAL_TIM_ACTIVE_CHANNEL_2)
    {
      if (Is_First_Captured[13]==0) // if the first rising edge is not captured
      {
        IC_Val1[13] = HAL_TIM_ReadCapturedValue(htim, TIM_CHANNEL_2); // read the first value
        Is_First_Captured[13] = 1;  // set the first captured as true
      }

      else   // If the first rising edge is captured, now we will capture the second edge
      {
        IC_Val2[13] = HAL_TIM_ReadCapturedValue(htim, TIM_CHANNEL_2);  // read second value

        if (IC_Val2[13] > IC_Val1[13])
        {
          Difference[13] = IC_Val2[13]-IC_Val1[13];
        }

        else if (IC_Val1[13] > IC_Val2[13])
        {
          Difference[13] = (0xffffffff - IC_Val1[13]) + IC_Val2[13];
        }

        float refClock = TIMCLOCK_1/(PRESCALAR_1);

        frequency[13] = (int)refClock/Difference[13];

//        __HAL_TIM_SET_COUNTER(htim, 0);  // reset the counter
        Is_First_Captured[13] = 0; // set it back to false
      }
    }
    else if (htim->Channel == HAL_TIM_ACTIVE_CHANNEL_3)
    {
      if (Is_First_Captured[14]==0) // if the first rising edge is not captured
      {
        IC_Val1[14] = HAL_TIM_ReadCapturedValue(htim, TIM_CHANNEL_3); // read the first value
        Is_First_Captured[14] = 1;  // set the first captured as true
      }

      else   // If the first rising edge is captured, now we will capture the second edge
      {
        IC_Val2[14] = HAL_TIM_ReadCapturedValue(htim, TIM_CHANNEL_3);  // read second value

        if (IC_Val2[14] > IC_Val1[14])
        {
          Difference[14] = IC_Val2[14]-IC_Val1[14];
        }

        else if (IC_Val1[14] > IC_Val2[14])
        {
          Difference[14] = (0xffffffff - IC_Val1[14]) + IC_Val2[14];
        }

        float refClock = TIMCLOCK_1/(PRESCALAR_1);

        frequency[14] = (int)refClock/Difference[14];

//        __HAL_TIM_SET_COUNTER(htim, 0);  // reset the counter
        Is_First_Captured[14] = 0; // set it back to false
      }
    }
    else if (htim->Channel == HAL_TIM_ACTIVE_CHANNEL_4)
    {
      if (Is_First_Captured[15]==0) // if the first rising edge is not captured
      {
        IC_Val1[15] = HAL_TIM_ReadCapturedValue(htim, TIM_CHANNEL_4); // read the first value
        Is_First_Captured[15] = 1;  // set the first captured as true
      }

      else   // If the first rising edge is captured, now we will capture the second edge
      {
        IC_Val2[15] = HAL_TIM_ReadCapturedValue(htim, TIM_CHANNEL_4);  // read second value

        if (IC_Val2[15] > IC_Val1[15])
        {
          Difference[15] = IC_Val2[15]-IC_Val1[15];
        }

        else if (IC_Val1[11] > IC_Val2[11])
        {
          Difference[15] = (0xffffffff - IC_Val1[15]) + IC_Val2[15];
        }

        float refClock = TIMCLOCK_1/(PRESCALAR_1);

        frequency[15] = (int)refClock/Difference[15];

//        __HAL_TIM_SET_COUNTER(htim, 0);  // reset the counter
        Is_First_Captured[15] = 0; // set it back to false
      }
    }
  }
}

char *convert_to_string(uint16_t data[], size_t len) {
  char *str = malloc(len * 6); // 5 digits + 1 separator
  if (str == NULL) {
    return NULL;
  }

  for (size_t i = 0; i < len; i++) {
    sprintf(str + i * 6, "%u$", data[i]);
  }
  str[len * 6 - 1] = '\0';

  return str;
}

void arrayToString(uint16_t* dataArray, int size, char* result) {
  for (int i = 0; i < size; i++) {
    char temp[6];
    tfp_sprintf(temp,"%05u$",dataArray[i]);
    //      sprintf(temp,"%u$",dataArray[i]);
    strcat(result,temp);
  }
}

/* USER CODE END 4 */

void modebusTaskTcpFunc(void *argument)
{
  for(;;)
  {
    osDelay(1);
  }
}

void Freq_Cal_entry(void *argument)
{
  /* USER CODE BEGIN Freq_Cal_entry */

  /* Infinite loop */
  for(;;)
  {
    frequency_f[0] = frequency[0];
    frequency_f[1] = frequency[1];
    frequency_f[2] = frequency[2];
    frequency_f[3] = frequency[3];
    frequency_f[4] = frequency[4];
    frequency_f[5] = frequency[5];
    frequency_f[6] = frequency[6];
    frequency_f[7] = frequency[7];
    frequency_f[8] = frequency[8];
    frequency_f[9] = frequency[9];
    frequency_f[10] = frequency[10];
    frequency_f[11] = frequency[11];
    frequency_f[12] = frequency[12];
    frequency_f[13] = frequency[12];
    frequency_f[14] = frequency[14];
    frequency_f[15] = frequency[15];

   stat = usart_rx[0] - 48;
   memset(usart_rx, '\0', sizeof(usart_rx));
   if(stat == 1){
    strcpy(update_status,"mode1");
    counter = 0;
    readCount = 0;
    }
    else if(stat == 2){
    strcpy(update_status,"mode2");
    }
    else if(stat == 3){
    strcpy(update_status,"mode0");
    counter = 0;
    readCount = 0;
    memset(outstr, '\0', sizeof(outstr));
    }

    if(!strcmp(update_status,"mode0")){
      for(int j = 0; j < 400; j++){
        out_data[j] = 0;
      }
    }
    if(!strcmp(update_status,"mode1")){
      if(counter == 100){
        counter = 0;
        for(int i = 0; i < 16; i++){
//          uint16_t test[16] = {10000,20000,3555,1231,40564,45421,4551,123,3546,4485,12323,12315,12123,456,789,456}; // Test Data
//          capture_freq[readCount][i] = test[i];
          capture_freq[readCount][i] = frequency_f[i];
        }
        readCount++;
      }
      if(readCount == 100){
        uint8_t sampleRate;
        if(readCount > 25){
          sampleRate = readCount/25;
        }
        else{
          sampleRate = 1;
        }
        for(int i = 0; i < 25; i++){
          for(int j = 0; j < 16; j++){
            selected_data[i][j] = capture_freq[i*sampleRate][j];
          }
        }
        uint16_t count = 0;
        for(int i = 0; i < 25; i++){
          for(int j = 0; j < 16; j++){
            out_data[count++] = selected_data[i][j];
          }
        }
        strcpy(update_status, "mode2");
      }
    }
    if(!strcmp(update_status,"mode2")){
      uint16_t count = 0;
      uint8_t sampleRate;
      if(readCount > 25){
        sampleRate = readCount/25;
      }
      else{
        sampleRate = 1;
      }
      for(int i = 0; i < 25; i++){
        for(int j = 0; j < 16; j++){
          out_data[count++] = capture_freq[i*sampleRate][j];
        }
      }
      arrayToString(out_data,400,outstr);
      outstr[2399] = '\0';
      usart_transmit_data(outstr, sizeof(outstr));
//      usart_process_data(outstr, sizeof(outstr));
      osDelay(20);
      HAL_NVIC_SystemReset();
      memset(outstr, '\0', sizeof(outstr));
      stat = 0;
      readCount = 0;
      strcpy(update_status,"mode0");
    }

    osDelay(1);
  }
  /* USER CODE END Freq_Cal_entry */
}

void HAL_TIM_PeriodElapsedCallback(TIM_HandleTypeDef *htim)
{
  if (htim->Instance == TIM5) {
    HAL_IncTick();
  }
}

void Error_Handler(void)
{
}

/************************ (C) COPYRIGHT STMicroelectronics *****END OF FILE****/
